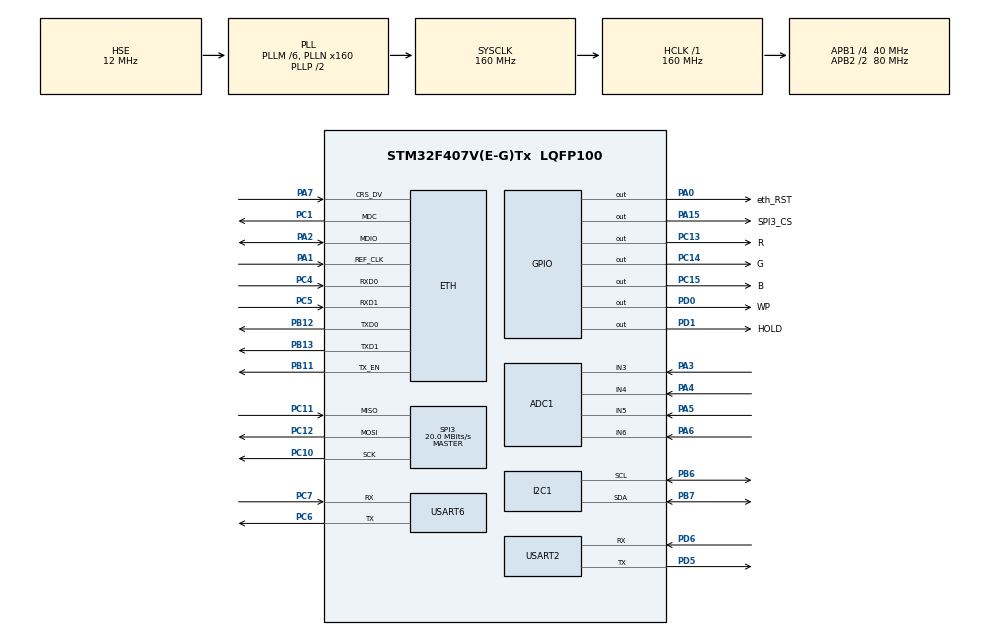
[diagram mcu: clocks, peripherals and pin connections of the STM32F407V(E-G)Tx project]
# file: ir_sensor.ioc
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ADC1.Channel-10\#ChannelRegularConversion=ADC_CHANNEL_5
ADC1.Channel-11\#ChannelRegularConversion=ADC_CHANNEL_5
ADC1.Channel-12\#ChannelRegularConversion=ADC_CHANNEL_5
ADC1.Channel-13\#ChannelRegularConversion=ADC_CHANNEL_5
ADC1.Channel-14\#ChannelRegularConversion=ADC_CHANNEL_5
ADC1.Channel-15\#ChannelRegularConversion=ADC_CHANNEL_5
ADC1.Channel-16\#ChannelRegularConversion=ADC_CHANNEL_5
ADC1.Channel-17\#ChannelRegularConversion=ADC_CHANNEL_5
ADC1.Channel-18\#ChannelRegularConversion=ADC_CHANNEL_5
ADC1.Channel-19\#ChannelRegularConversion=ADC_CHANNEL_5
ADC1.Channel-20\#ChannelRegularConversion=ADC_CHANNEL_5
ADC1.Channel-21\#ChannelRegularConversion=ADC_CHANNEL_5
ADC1.Channel-6\#ChannelRegularConversion=ADC_CHANNEL_5
ADC1.Channel-7\#ChannelRegularConversion=ADC_CHANNEL_5
ADC1.Channel-8\#ChannelRegularConversion=ADC_CHANNEL_5
ADC1.Channel-9\#ChannelRegularConversion=ADC_CHANNEL_5
ADC1.EnableAnalogWatchDog=false
ADC1.InjNumberOfConversion=0
ADC1.NbrOfConversion=16
ADC1.NbrOfConversionFlag=1
ADC1.Rank-10\#ChannelRegularConversion=5
ADC1.Rank-11\#ChannelRegularConversion=6
ADC1.Rank-12\#ChannelRegularConversion=7
ADC1.Rank-13\#ChannelRegularConversion=8
ADC1.Rank-14\#ChannelRegularConversion=9
ADC1.Rank-15\#ChannelRegularConversion=10
ADC1.Rank-16\#ChannelRegularConversion=11
ADC1.Rank-17\#ChannelRegularConversion=12
ADC1.Rank-18\#ChannelRegularConversion=13
ADC1.Rank-19\#ChannelRegularConversion=14
ADC1.Rank-20\#ChannelRegularConversion=15
ADC1.Rank-21\#ChannelRegularConversion=16
ADC1.Rank-6\#ChannelRegularConversion=1
ADC1.Rank-7\#ChannelRegularConversion=2
ADC1.Rank-8\#ChannelRegularConversion=3
ADC1.Rank-9\#ChannelRegularConversion=4
ADC1.SamplingTime-10\#ChannelRegularConversion=ADC_SAMPLETIME_144CYCLES
ADC1.SamplingTime-11\#ChannelRegularConversion=ADC_SAMPLETIME_144CYCLES
ADC1.SamplingTime-12\#ChannelRegularConversion=ADC_SAMPLETIME_144CYCLES
ADC1.SamplingTime-13\#ChannelRegularConversion=ADC_SAMPLETIME_144CYCLES
ADC1.SamplingTime-14\#ChannelRegularConversion=ADC_SAMPLETIME_144CYCLES
ADC1.SamplingTime-15\#ChannelRegularConversion=ADC_SAMPLETIME_144CYCLES
ADC1.SamplingTime-16\#ChannelRegularConversion=ADC_SAMPLETIME_144CYCLES
ADC1.SamplingTime-17\#ChannelRegularConversion=ADC_SAMPLETIME_144CYCLES
ADC1.SamplingTime-18\#ChannelRegularConversion=ADC_SAMPLETIME_144CYCLES
ADC1.SamplingTime-19\#ChannelRegularConversion=ADC_SAMPLETIME_144CYCLES
ADC1.SamplingTime-20\#ChannelRegularConversion=ADC_SAMPLETIME_144CYCLES
ADC1.SamplingTime-21\#ChannelRegularConversion=ADC_SAMPLETIME_144CYCLES
ADC1.SamplingTime-6\#ChannelRegularConversion=ADC_SAMPLETIME_144CYCLES
ADC1.SamplingTime-7\#ChannelRegularConversion=ADC_SAMPLETIME_144CYCLES
ADC1.SamplingTime-8\#ChannelRegularConversion=ADC_SAMPLETIME_144CYCLES
ADC1.SamplingTime-9\#ChannelRegularConversion=ADC_SAMPLETIME_144CYCLES
ADC1.master=1
Dma.ADC1.4.Direction=DMA_PERIPH_TO_MEMORY
Dma.ADC1.4.FIFOMode=DMA_FIFOMODE_DISABLE
Dma.ADC1.4.Instance=DMA2_Stream0
Dma.ADC1.4.MemDataAlignment=DMA_MDATAALIGN_HALFWORD
Dma.ADC1.4.MemInc=DMA_MINC_ENABLE
Dma.ADC1.4.Mode=DMA_NORMAL
Dma.ADC1.4.PeriphDataAlignment=DMA_PDATAALIGN_HALFWORD
Dma.ADC1.4.PeriphInc=DMA_PINC_DISABLE
Dma.ADC1.4.Priority=DMA_PRIORITY_LOW
Dma.Request0=USART2_TX
Dma.Request1=USART2_RX
Dma.Request2=USART6_RX
Dma.Request3=USART6_TX
Dma.Request4=ADC1
Dma.USART2_RX.1.Direction=DMA_PERIPH_TO_MEMORY
Dma.USART2_RX.1.FIFOMode=DMA_FIFOMODE_DISABLE
Dma.USART2_RX.1.Instance=DMA1_Stream5
Dma.USART2_RX.1.MemDataAlignment=DMA_MDATAALIGN_BYTE
Dma.USART2_RX.1.MemInc=DMA_MINC_ENABLE
Dma.USART2_RX.1.Mode=DMA_CIRCULAR
Dma.USART2_RX.1.PeriphDataAlignment=DMA_PDATAALIGN_BYTE
Dma.USART2_RX.1.PeriphInc=DMA_PINC_DISABLE
Dma.USART2_RX.1.Priority=DMA_PRIORITY_MEDIUM
Dma.USART2_TX.0.Direction=DMA_MEMORY_TO_PERIPH
Dma.USART2_TX.0.FIFOMode=DMA_FIFOMODE_DISABLE
Dma.USART2_TX.0.Instance=DMA1_Stream6
Dma.USART2_TX.0.MemDataAlignment=DMA_MDATAALIGN_BYTE
Dma.USART2_TX.0.MemInc=DMA_MINC_ENABLE
Dma.USART2_TX.0.Mode=DMA_NORMAL
Dma.USART2_TX.0.PeriphDataAlignment=DMA_PDATAALIGN_BYTE
Dma.USART2_TX.0.PeriphInc=DMA_PINC_DISABLE
Dma.USART2_TX.0.Priority=DMA_PRIORITY_MEDIUM
Dma.USART6_RX.2.Direction=DMA_PERIPH_TO_MEMORY
Dma.USART6_RX.2.FIFOMode=DMA_FIFOMODE_DISABLE
Dma.USART6_RX.2.Instance=DMA2_Stream1
Dma.USART6_RX.2.MemDataAlignment=DMA_MDATAALIGN_BYTE
Dma.USART6_RX.2.MemInc=DMA_MINC_ENABLE
Dma.USART6_RX.2.Mode=DMA_CIRCULAR
Dma.USART6_RX.2.PeriphDataAlignment=DMA_PDATAALIGN_BYTE
Dma.USART6_RX.2.PeriphInc=DMA_PINC_DISABLE
Dma.USART6_RX.2.Priority=DMA_PRIORITY_LOW
Dma.USART6_TX.3.Direction=DMA_MEMORY_TO_PERIPH
Dma.USART6_TX.3.FIFOMode=DMA_FIFOMODE_DISABLE
Dma.USART6_TX.3.Instance=DMA2_Stream6
Dma.USART6_TX.3.MemDataAlignment=DMA_MDATAALIGN_BYTE
Dma.USART6_TX.3.MemInc=DMA_MINC_ENABLE
Dma.USART6_TX.3.Mode=DMA_NORMAL
Dma.USART6_TX.3.PeriphDataAlignment=DMA_PDATAALIGN_BYTE
Dma.USART6_TX.3.PeriphInc=DMA_PINC_DISABLE
Dma.USART6_TX.3.Priority=DMA_PRIORITY_LOW
ETH.MACAddr=44\:84\:23\:84\:44\:77
ETH.MediaInterface=HAL_ETH_RMII_MODE
ETH.PhyAddress=0
FREERTOS.BinarySemaphores01=ADC_end,Dynamic,NULL,Depleted
FREERTOS.Mutexes01=s2DistanceMutex,Dynamic,NULL,Available;mutexADC,Dynamic,NULL,Available;s1DistanceMutex,Dynamic,NULL,Available;setMutex,Dynamic,NULL,Available
FREERTOS.Queues01=rxDataUART2,16,uint8_t,0,Dynamic,NULL,NULL
FREERTOS.Tasks01=mainTask,0,512,MainTask,Default,NULL,Dynamic,NULL,NULL;ethTask,0,512,eth_Task,Default,NULL,Dynamic,NULL,NULL;ledTask,0,512,LedTask,Default,NULL,Dynamic,NULL,NULL;debug_udp,0,512,Debug_udp,Default,NULL,Dynamic,NULL,NULL;uart_task,0,1024,uart_Task,Default,NULL,Dynamic,NULL,NULL;loggerTask,0,128,LoggerTask,Default,NULL,Dynamic,NULL,NULL
FREERTOS.configTOTAL_HEAP_SIZE=24576
FREERTOS.configUSE_NEWLIB_REENTRANT=1
LWIP.BSP.number=1
LWIP.LWIP_DHCP=0
LWIP.LWIP_DNS=1
LWIP.LWIP_NETIF_EXT_STATUS_CALLBACK=1
LWIP.LWIP_NETIF_STATUS_CALLBACK=1
LWIP.Version=v2.1.2_Cube
LWIP0.BSP.STBoard=false
LWIP0.BSP.api=BSP_COMPONENT_DRIVER
LWIP0.BSP.component=LAN8742
LWIP0.BSP.instance=LAN8742
LWIP0.BSP.name=Driver_PHY
LWIP0.BSP.semaphore=S_LAN8742
LWIP0.BSP.solution=LAN8742
Mcu.Family=STM32F4
Mcu.Name=STM32F407V(E-G)Tx
Mcu.Package=LQFP100
NVIC.DMA1_Stream5_IRQn=true\:5\:0\:false\:false\:true\:true\:false\:true\:true
NVIC.DMA1_Stream6_IRQn=true\:5\:0\:false\:false\:true\:true\:false\:true\:true
NVIC.DMA2_Stream0_IRQn=true\:5\:0\:false\:false\:true\:true\:false\:true\:true
NVIC.DMA2_Stream1_IRQn=true\:5\:0\:false\:false\:true\:true\:false\:true\:true
NVIC.DMA2_Stream6_IRQn=true\:5\:0\:false\:false\:true\:true\:false\:true\:true
NVIC.ETH_IRQn=true\:5\:0\:false\:false\:true\:true\:false\:true\:true
NVIC.PriorityGroup=NVIC_PRIORITYGROUP_4
NVIC.TIM1_CC_IRQn=true\:5\:0\:false\:false\:true\:true\:true\:true\:true
NVIC.TIM1_UP_TIM10_IRQn=true\:5\:0\:false\:false\:true\:true\:true\:true\:true
NVIC.TIM3_IRQn=true\:5\:0\:false\:false\:true\:true\:true\:true\:true
NVIC.TIM4_IRQn=true\:5\:0\:false\:false\:true\:true\:true\:true\:true
NVIC.TIM6_DAC_IRQn=true\:5\:0\:false\:false\:true\:true\:true\:true\:true
NVIC.TIM7_IRQn=true\:15\:0\:false\:false\:true\:false\:false\:true\:true
NVIC.TimeBase=TIM7_IRQn
NVIC.TimeBaseIP=TIM7
NVIC.USART2_IRQn=true\:5\:0\:false\:false\:true\:true\:true\:true\:true
NVIC.USART6_IRQn=true\:5\:0\:false\:false\:true\:true\:true\:true\:true
PA0-WKUP.GPIO_Label=eth_RST
PA0-WKUP.Signal=GPIO_Output
PA1.GPIO_PuPd=GPIO_NOPULL
PA1.Mode=RMII
PA1.Signal=ETH_REF_CLK
PA13.Mode=Serial_Wire
PA13.Signal=SYS_JTMS-SWDIO
PA14.Mode=Serial_Wire
PA14.Signal=SYS_JTCK-SWCLK
PA15.GPIO_Label=SPI3_CS
PA15.Signal=GPIO_Output
PA2.GPIO_PuPd=GPIO_NOPULL
PA2.Mode=RMII
PA2.Signal=ETH_MDIO
PA3.Signal=ADCx_IN3
PA4.Signal=ADCx_IN4
PA5.Signal=ADCx_IN5
PA6.Signal=ADCx_IN6
PA7.GPIO_PuPd=GPIO_NOPULL
PA7.Mode=RMII
PA7.Signal=ETH_CRS_DV
PB11.GPIO_PuPd=GPIO_NOPULL
PB11.Mode=RMII
PB11.Signal=ETH_TX_EN
PB12.GPIO_PuPd=GPIO_NOPULL
PB12.Mode=RMII
PB12.Signal=ETH_TXD0
PB13.GPIO_PuPd=GPIO_NOPULL
PB13.Mode=RMII
PB13.Signal=ETH_TXD1
PB6.Mode=I2C
PB6.Signal=I2C1_SCL
PB7.Mode=I2C
PB7.Signal=I2C1_SDA
PC1.GPIO_PuPd=GPIO_NOPULL
PC1.Mode=RMII
PC1.Signal=ETH_MDC
PC10.Mode=Full_Duplex_Master
PC10.Signal=SPI3_SCK
PC11.Mode=Full_Duplex_Master
PC11.Signal=SPI3_MISO
PC12.Mode=Full_Duplex_Master
PC12.Signal=SPI3_MOSI
PC13-ANTI_TAMP.GPIO_Label=R
PC13-ANTI_TAMP.PinState=GPIO_PIN_SET
PC13-ANTI_TAMP.Signal=GPIO_Output
PC14-OSC32_IN.GPIO_Label=G
PC14-OSC32_IN.PinState=GPIO_PIN_SET
PC14-OSC32_IN.Signal=GPIO_Output
PC15-OSC32_OUT.GPIO_Label=B
PC15-OSC32_OUT.PinState=GPIO_PIN_SET
PC15-OSC32_OUT.Signal=GPIO_Output
PC4.GPIO_PuPd=GPIO_NOPULL
PC4.Mode=RMII
PC4.Signal=ETH_RXD0
PC5.GPIO_PuPd=GPIO_NOPULL
PC5.Mode=RMII
PC5.Signal=ETH_RXD1
PC6.Mode=Asynchronous
PC6.Signal=USART6_TX
PC7.Mode=Asynchronous
PC7.Signal=USART6_RX
PD0.GPIO_Label=WP
PD0.Signal=GPIO_Output
PD1.GPIO_Label=HOLD
PD1.Signal=GPIO_Output
PD5.Mode=Asynchronous
PD5.Signal=USART2_TX
PD6.Mode=Asynchronous
PD6.Signal=USART2_RX
PH0-OSC_IN.Mode=HSE-External-Oscillator
PH0-OSC_IN.Signal=RCC_OSC_IN
PH1-OSC_OUT.Mode=HSE-External-Oscillator
PH1-OSC_OUT.Signal=RCC_OSC_OUT
ProjectManager.HeapSize=0x4000
ProjectManager.StackSize=0x4000
ProjectManager.TargetToolchain=STM32CubeIDE
RCC.48MHZClocksFreq_Value=80000000
RCC.AHBFreq_Value=160000000
RCC.APB1CLKDivider=RCC_HCLK_DIV4
RCC.APB1Freq_Value=40000000
RCC.APB1TimFreq_Value=80000000
RCC.APB2CLKDivider=RCC_HCLK_DIV2
RCC.APB2Freq_Value=80000000
RCC.APB2TimFreq_Value=160000000
RCC.CortexFreq_Value=160000000
RCC.HCLKFreq_Value=160000000
RCC.HSE_VALUE=12000000
RCC.HSI_VALUE=16000000
RCC.LSE_VALUE=32768
RCC.PLLM=6
RCC.PLLN=160
RCC.PLLSourceVirtual=RCC_PLLSOURCE_HSE
RCC.SYSCLKFreq_VALUE=160000000
RCC.SYSCLKSource=RCC_SYSCLKSOURCE_PLLCLK
RCC.VCOOutputFreq_Value=320000000
SH.ADCx_IN3.0=ADC1_IN3,IN3
SH.ADCx_IN4.0=ADC1_IN4,IN4
SH.ADCx_IN5.0=ADC1_IN5,IN5
SH.ADCx_IN6.0=ADC1_IN6,IN6
SPI3.CalculateBaudRate=20.0 MBits/s
SPI3.Direction=SPI_DIRECTION_2LINES
SPI3.Mode=SPI_MODE_MASTER
SPI3.VirtualType=VM_MASTER
TIM1.AutoReloadPreload=TIM_AUTORELOAD_PRELOAD_ENABLE
TIM1.Period=10000
TIM1.Prescaler=7
TIM1.TIM_MasterOutputTrigger=TIM_TRGO_UPDATE
TIM3.AutoReloadPreload=TIM_AUTORELOAD_PRELOAD_ENABLE
TIM3.Channel-Output\ Compare3\ No\ Output=TIM_CHANNEL_3
TIM3.Channel-Output\ Compare4\ No\ Output=TIM_CHANNEL_4
TIM3.ClockDivision=TIM_CLOCKDIVISION_DIV1
TIM3.CounterMode=TIM_COUNTERMODE_UP
TIM3.OCMode_3=TIM_OCMODE_TIMING
TIM3.Period=65535
TIM3.Prescaler=0
TIM4.AutoReloadPreload=TIM_AUTORELOAD_PRELOAD_DISABLE
TIM4.Channel-Output\ Compare1\ No\ Output=TIM_CHANNEL_1
TIM4.Channel-Output\ Compare2\ No\ Output=TIM_CHANNEL_2
TIM4.Period=1000
TIM4.Prescaler=0
TIM6.AutoReloadPreload=TIM_AUTORELOAD_PRELOAD_ENABLE
TIM6.Period=100-1
TIM6.Prescaler=80-1
TIM6.TIM_MasterOutputTrigger=TIM_TRGO_RESET
USART2.VirtualMode=VM_ASYNC
USART6.VirtualMode=VM_ASYNC
VP_FREERTOS_VS_CMSIS_V1.Mode=CMSIS_V1
VP_LWIP_VS_Enabled.Mode=Enabled
VP_SYS_VS_tim7.Mode=TIM7
VP_TIM1_VS_ClockSourceINT.Mode=Internal
VP_TIM3_VS_no_output3.Mode=Output Compare3 No Output
VP_TIM3_VS_no_output4.Mode=Output Compare4 No Output
VP_TIM4_VS_ClockSourceITR.Mode=TriggerSource_ITR0
VP_TIM4_VS_ControllerModeClock.Mode=Clock Mode
VP_TIM4_VS_no_output1.Mode=Output Compare1 No Output
VP_TIM4_VS_no_output2.Mode=Output Compare2 No Output
VP_TIM6_VS_ClockSourceINT.Mode=Enable_Timer
VP_TIM6_VS_OPM.Mode=OPM_bit
board=custom

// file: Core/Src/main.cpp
/* USER CODE BEGIN Header */
/**
 ******************************************************************************
 * @file           : main.c
 * @brief          : Main program body
 ******************************************************************************
 * @attention
 *
 * Copyright (c) 2025 STMicroelectronics.
 * All rights reserved.
 *
 * This software is licensed under terms that can be found in the LICENSE file
 * in the root directory of this software component.
 * If no LICENSE file comes with this software, it is provided AS-IS.
 *
 ******************************************************************************
 */
/* USER CODE END Header */
#include "main.h"
#include "cmsis_os.h"
#include "adc.h"
#include "dma.h"
#include "i2c.h"
#include "lwip.h"
#include "spi.h"
#include "tim.h"
#include "usart.h"
#include "gpio.h"

/* USER CODE BEGIN Includes */
#include "LED.h"
#include "flash_spi.h"
#include "cmsis_os.h"
#include "firmware_update.h"
#include "sensor.h"
/* USER CODE END Includes */

/* USER CODE BEGIN PTD */
// Размещение метаданных по фиксированному адресу с помощью атрибута section
__attribute__((section(".metadata")))
const meta_t firmware_metadata = {
    .key_start = METADATA_KEY,
    .version = FIRMWARE_VERSION,
    .name_proj = FIRMWARE_NAME,
    .reserved = 0};

uint8_t ucHeap[configTOTAL_HEAP_SIZE] __attribute__((section(".ccmram"))) = {0};

/* USER CODE END PTD */

/* USER CODE BEGIN PV */
led_t LED_IPadr;
led_t LED_error;
led_t LED_OSstart;

flash mem_spi;
bool resetSettings = false;
// for SPI Flash
pins_spi_t ChipSelect = {SPI3_CS_GPIO_Port, SPI3_CS_Pin};
pins_spi_t WriteProtect = {WP_GPIO_Port, WP_Pin};
pins_spi_t Hold = {HOLD_GPIO_Port, HOLD_Pin};

settings_t settings = {0, 0x0E};
sensor Sensor;
// Глобальный экземпляр логгера
UartLogger_t logger;

// Локальный буфер для DMA передачи
char txBuffer[MAX_MESSAGE_SIZE];
// Пул сообщений и буфер для него
LogMessage_t messagePool[QUEUE_SIZE];
uint8_t messagePoolUsed[QUEUE_SIZE];
osMutexId poolMutexHandle;

uint8_t message_rx[message_RX_LENGTH];
uint8_t UART_debug_rx[UART6_RX_LENGTH];
uint16_t indx_message_rx = 0;
uint16_t indx_UART2_rx = 0;
uint16_t Size_message = 0;
uint16_t Start_index = 0;
extern osMessageQId rxDataUART2Handle;

//для АЦП сбор данных с датчика

/* USER CODE END PV */

void SystemClock_Config(void);
void MX_FREERTOS_Init(void);
/* USER CODE BEGIN PFP */
void finishedBlink();
void timoutBlink();
/* USER CODE END PFP */

int main(void)
{

  /* USER CODE BEGIN 1 */
  extern uint32_t _app_start;
  SCB->VTOR = (uint32_t)&_app_start;
  __enable_irq();
  /* USER CODE END 1 */

  /* MCU Configuration--------------------------------------------------------*/

  /* Reset of all peripherals, Initializes the Flash interface and the Systick. */
  HAL_Init();

  /* Configure the system clock */
  SystemClock_Config();

  /* Initialize all configured peripherals */
  MX_GPIO_Init();
  MX_DMA_Init();
  MX_ADC1_Init();
  MX_SPI3_Init();
  MX_TIM1_Init();
  MX_TIM3_Init();
  MX_TIM6_Init();
  MX_TIM4_Init();
  MX_USART2_UART_Init();
  MX_I2C1_Init();
  MX_USART6_UART_Init();
  /* USER CODE BEGIN 2 */

  mem_spi.Init(&hspi3, SPI_FLASH_CONFIG_ADDRESS, ChipSelect, WriteProtect, Hold, false);
  // HAL_Delay(100);
  mem_spi.Read(&settings);

  HAL_GPIO_WritePin(R_GPIO_Port, R_Pin, GPIO_PIN_SET); // PC15 VD4
  HAL_GPIO_WritePin(B_GPIO_Port, B_Pin, GPIO_PIN_SET); // PC13 VD2
  HAL_GPIO_WritePin(G_GPIO_Port, G_Pin, GPIO_PIN_SET); // PC14 VD3

  uint8_t endMAC = 0, IP = 100;

  HAL_GPIO_WritePin(eth_RST_GPIO_Port, eth_RST_Pin, GPIO_PIN_SET);

  // работаем с настройками из флешки
  if ((settings.version == 0) || (settings.version == 0xFF) || (settings.version != CURENT_VERSION) || resetSettings)
  {
    STM_LOG("Reset settings");

    settings.isON_from_settings = false;
    settings.IP_end_from_settings = 1;

    settings.DHCPset = true;
    settings.devices_depth = 0;

    settings.saveIP.ip[0] = 192;
    settings.saveIP.ip[1] = 168;
    settings.saveIP.ip[2] = 1;
    settings.saveIP.ip[3] = IP;

    settings.saveIP.mask[0] = 255;
    settings.saveIP.mask[1] = 255;
    settings.saveIP.mask[2] = 255;
    settings.saveIP.mask[3] = 0;

    settings.saveIP.gateway[0] = 192;
    settings.saveIP.gateway[1] = 168;
    settings.saveIP.gateway[2] = 1;
    settings.saveIP.gateway[3] = 1;

    settings.MAC[0] = 0x44;
    settings.MAC[1] = 0x84;
    settings.MAC[2] = 0x23;
    settings.MAC[3] = 0x84;
    settings.MAC[4] = 0x44;
    settings.MAC[5] = endMAC;

    settings.sensorSett.sensorType = Optic;
    settings.sensorSett.modePwr = 1; // режим работы питания
    settings.sensorSett.callDistanceMin = 0;
    settings.sensorSett.callDistanceMax = 4096; // зона работы датчика
    settings.sensorSett.triger = 100; // смещение от ленты
    settings.sensorSett.timeCall = 5000; // время выполнение калибровки

    /*
      k_H (0.1-0.9):
      Увеличить → быстрее отслеживание полезного сигнала, но больше пропускается шума
      Уменьшить → медленнее реакция на изменения, но лучше подавление шума

      k_L (0.01-0.3):
      Увеличить → меньше фильтрации при стабильном сигнале, быстрее адаптация к дрейфу
      Уменьшить → сильнее подавление шума, но медленнее адаптация к медленным изменениям

      значения (k_H=0.4, k_L=0.1) хорошо подходят для частоты 25 Гц.
      значения (k_H=0.55, k_L=0.15) хорошо подходят для частоты 35 Гц.
    */
    settings.sensorSett.k_H = 0.4f;  // Коэф. для резких изменений (0.1-0.9): ↑ быстрее реакция, больше шума; ↓ медленнее, меньше шума
    settings.sensorSett.k_L = 0.1f;  // Коэф. для плавных изменений (0.01-0.3): ↑ меньше фильтрация; ↓ сильнее подавление шума

    //settings.sensorSett.chanelCallTime = 0; // канал для вызова калибровки по времени
    settings.sensorSett.timeParametrs.callTimeMin = 0xFFFFFFFF;
    settings.sensorSett.timeParametrs.callTimeMax = 0;
    settings.sensorSett.timeParametrs.timOutFalling = 10;

    settings.version = CURENT_VERSION;

    mem_spi.Write(settings);
    mem_spi.Read(&settings);
    finishedBlink();
  }

  mem_spi.SetUsedInOS(true); // switch to use in OS
  /* USER CODE END 2 */

  /* Call init function for freertos objects (in cmsis_os2.c) */
  MX_FREERTOS_Init();

  /* Start scheduler */
  osKernelStart();

  /* We should never get here as control is now taken by the scheduler */

  /* Infinite loop */
  while (1)
  {

  }
}

void SystemClock_Config(void)
{
  RCC_OscInitTypeDef RCC_OscInitStruct = {0};
  RCC_ClkInitTypeDef RCC_ClkInitStruct = {0};

  /** Configure the main internal regulator output voltage
  */
  __HAL_RCC_PWR_CLK_ENABLE();
  __HAL_PWR_VOLTAGESCALING_CONFIG(PWR_REGULATOR_VOLTAGE_SCALE1);

  /** Initializes the RCC Oscillators according to the specified parameters
  * in the RCC_OscInitTypeDef structure.
  */
  RCC_OscInitStruct.OscillatorType = RCC_OSCILLATORTYPE_HSE;
  RCC_OscInitStruct.HSEState = RCC_HSE_ON;
  RCC_OscInitStruct.PLL.PLLState = RCC_PLL_ON;
  RCC_OscInitStruct.PLL.PLLSource = RCC_PLLSOURCE_HSE;
  RCC_OscInitStruct.PLL.PLLM = 6;
  RCC_OscInitStruct.PLL.PLLN = 160;
  RCC_OscInitStruct.PLL.PLLP = RCC_PLLP_DIV2;
  RCC_OscInitStruct.PLL.PLLQ = 4;
  if (HAL_RCC_OscConfig(&RCC_OscInitStruct) != HAL_OK)
  {
    Error_Handler();
  }

  /** Initializes the CPU, AHB and APB buses clocks
  */
  RCC_ClkInitStruct.ClockType = RCC_CLOCKTYPE_HCLK|RCC_CLOCKTYPE_SYSCLK
                              |RCC_CLOCKTYPE_PCLK1|RCC_CLOCKTYPE_PCLK2;
  RCC_ClkInitStruct.SYSCLKSource = RCC_SYSCLKSOURCE_PLLCLK;
  RCC_ClkInitStruct.AHBCLKDivider = RCC_SYSCLK_DIV1;
  RCC_ClkInitStruct.APB1CLKDivider = RCC_HCLK_DIV4;
  RCC_ClkInitStruct.APB2CLKDivider = RCC_HCLK_DIV2;

  if (HAL_RCC_ClockConfig(&RCC_ClkInitStruct, FLASH_LATENCY_5) != HAL_OK)
  {
    Error_Handler();
  }
}

/* USER CODE BEGIN 4 */
void finishedBlink()
{
#define timeBetween 300

  // finished blink
  HAL_GPIO_WritePin(B_GPIO_Port, B_Pin, GPIO_PIN_SET); // PC15 VD4
  HAL_GPIO_WritePin(R_GPIO_Port, R_Pin, GPIO_PIN_SET); // PC13 VD2
  HAL_GPIO_WritePin(G_GPIO_Port, G_Pin, GPIO_PIN_SET); // PC14 VD3

  for (int var = 0; var < 5; ++var)
  {
    HAL_GPIO_WritePin(G_GPIO_Port, G_Pin, GPIO_PIN_RESET); // PC14 VD3
    HAL_Delay(timeBetween);
    HAL_GPIO_WritePin(G_GPIO_Port, G_Pin, GPIO_PIN_SET);   // PC14 VD3
    HAL_GPIO_WritePin(R_GPIO_Port, R_Pin, GPIO_PIN_RESET); // PC13 VD2
    HAL_Delay(timeBetween);
    HAL_GPIO_WritePin(R_GPIO_Port, R_Pin, GPIO_PIN_SET);   // PC13 VD2
    HAL_GPIO_WritePin(B_GPIO_Port, B_Pin, GPIO_PIN_RESET); // PC15 VD4
    HAL_Delay(timeBetween);
    HAL_GPIO_WritePin(B_GPIO_Port, B_Pin, GPIO_PIN_SET); // PC15 VD4
  }

  HAL_GPIO_WritePin(B_GPIO_Port, B_Pin, GPIO_PIN_SET); // PC15 VD4
  HAL_GPIO_WritePin(R_GPIO_Port, R_Pin, GPIO_PIN_SET); // PC13 VD2
  HAL_GPIO_WritePin(G_GPIO_Port, G_Pin, GPIO_PIN_SET); // PC14 VD3
}

void timoutBlink()
{
  // timOut plink  all
  HAL_GPIO_WritePin(B_GPIO_Port, B_Pin, GPIO_PIN_RESET); // PC15 VD4
  HAL_GPIO_WritePin(R_GPIO_Port, R_Pin, GPIO_PIN_RESET); // PC13 VD2
  HAL_GPIO_WritePin(G_GPIO_Port, G_Pin, GPIO_PIN_RESET); // PC14 VD3
  for (int var = 0; var < 5; ++var)
  {
    HAL_GPIO_TogglePin(B_GPIO_Port, B_Pin); // PC15 VD4
    HAL_GPIO_TogglePin(R_GPIO_Port, R_Pin); // PC13 VD2
    HAL_GPIO_TogglePin(G_GPIO_Port, G_Pin); // PC14 VD3
    HAL_Delay(800);
  }
}

void HAL_UARTEx_RxEventCallback(UART_HandleTypeDef *huart, uint16_t Size)
{

  if (huart->Instance == DBG_PORT_NAME)
  {
    // Проверяем, что DMA_TC флаг установлен
    while (__HAL_UART_GET_FLAG(huart, UART_FLAG_TC) != SET)
    {
      // Ожидаем завершения передачи
    };

    // Проверка на корректность Size и Start_index
    if (Size < Start_index) {
      // Ошибка: Size меньше Start_index - сбрасываем состояние
      STM_LOG("UART RX error: Size=%d < Start_index=%d, resetting", Size, Start_index);
      indx_message_rx = 0;
      Start_index = 0;
      HAL_UARTEx_ReceiveToIdle_DMA(huart, UART_debug_rx, UART6_RX_LENGTH);
      __HAL_DMA_DISABLE_IT(&hdma_usart6_rx, DMA_IT_HT);
      return;
    }

    uint16_t Size_Data = Size - Start_index;

    HAL_UART_RxEventTypeTypeDef rxEventType;
    rxEventType = HAL_UARTEx_GetRxEventType(huart);
    switch (rxEventType)
    {
    case HAL_UART_RXEVENT_IDLE:
      // Проверка границ буфера (нужно место для данных + null-terminator)
      if (indx_message_rx + Size_Data + 1 > message_RX_LENGTH) {
        // Переполнение буфера - сбрасываем
        STM_LOG("UART RX buffer overflow! indx=%d Size=%d", indx_message_rx, Size_Data);
        indx_message_rx = 0;
        Start_index = Size;
        break;
      }

      // Копируем данные
      memcpy(&message_rx[indx_message_rx], &UART_debug_rx[Start_index], Size_Data);

      if ((message_rx[indx_message_rx + Size_Data - 1] == '\r') ||
          (message_rx[indx_message_rx + Size_Data - 1] == 0))
      {
        message_rx[indx_message_rx + Size_Data] = 0;

        // Отправляем сообщение в очередь с таймаутом 0
        osStatus status = osMessagePut(rxDataUART2Handle, (uint32_t)indx_message_rx, 0);
        if (status != osOK)
        {
          // Если очередь заполнена, очищаем ее
          osEvent evt;
          do
          {
            evt = osMessageGet(rxDataUART2Handle, 0);
          } while (evt.status == osEventMessage);

          // Пытаемся отправить снова
          status = osMessagePut(rxDataUART2Handle, (uint32_t)indx_message_rx, 0);
        }

        Size_message = 0;
        indx_message_rx = 0;
      }
      else
      {
        indx_message_rx += Size_Data;
      }

      Start_index = Size;
      break;

    case HAL_UART_RXEVENT_TC:
      // Проверка границ буфера
      if (indx_message_rx + Size_Data > message_RX_LENGTH) {
        // Переполнение буфера - логируем и сбрасываем
        STM_LOG("UART RX buffer overflow TC! indx=%d Size=%d Total=%d", indx_message_rx, Size_Data, indx_message_rx + Size_Data);
        STM_LOG("Buffer content (first 100 chars): %.100s", message_rx);
        indx_message_rx = 0;
        Start_index = 0;
        break;
      }

      // Копируем в начало буфера
      memcpy(&message_rx[indx_message_rx], &UART_debug_rx[Start_index], Size_Data);
      indx_message_rx += Size_Data;
      Start_index = 0;
      break;

    default:
      STM_LOG("Неизвестный тип события UART: %d", rxEventType);
      break;
    }

    // Перезапускаем DMA для приема
    HAL_UARTEx_ReceiveToIdle_DMA(huart, UART_debug_rx, UART6_RX_LENGTH);
    __HAL_DMA_DISABLE_IT(&hdma_usart6_rx, DMA_IT_HT);
  }
}

void HAL_UART_RxCpltCallback(UART_HandleTypeDef *huart)
{
}

// Обработчик прерывания DMA UART
void HAL_UART_TxCpltCallback(UART_HandleTypeDef *huart)
{
  if (huart == logger.huart)
  {
    Logger_TxCpltCallback();
  }
}
/* USER CODE END 4 */

void HAL_TIM_PeriodElapsedCallback(TIM_HandleTypeDef *htim)
{
  if (htim->Instance == TIM7) {
    HAL_IncTick();
  }
}

void Error_Handler(void)
{
  __disable_irq();
  while (1)
  {
  }
}
